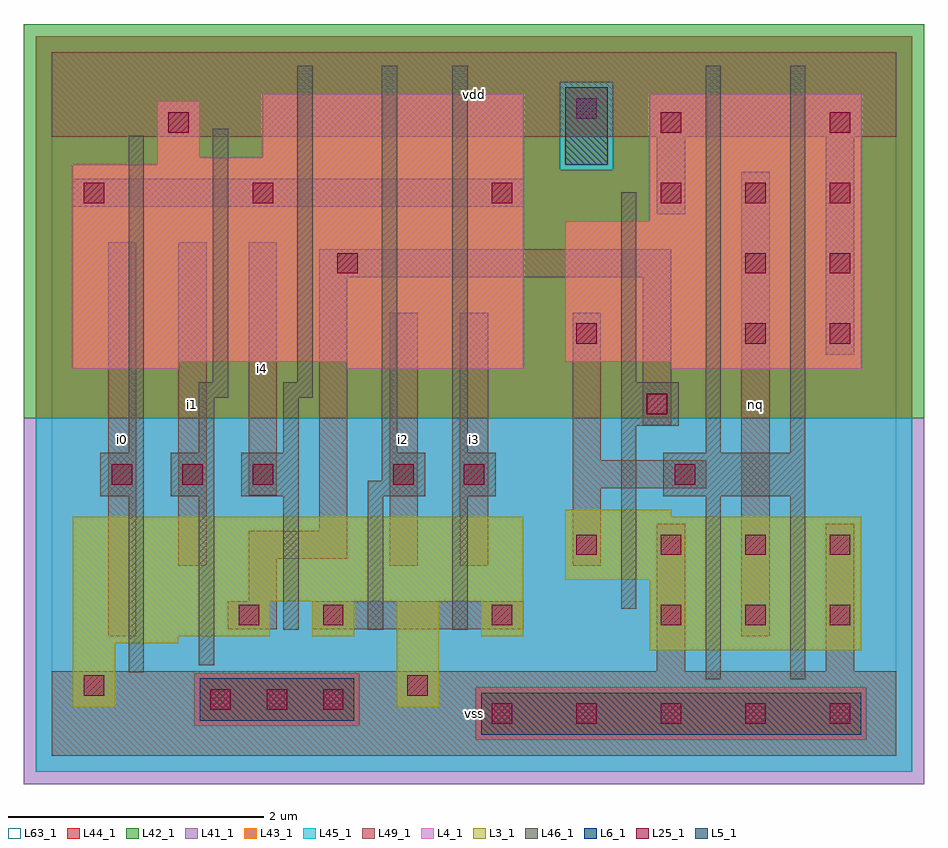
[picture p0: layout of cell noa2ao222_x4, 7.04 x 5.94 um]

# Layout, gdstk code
import gdstk
lib = gdstk.Library(unit=1e-6, precision=1e-09)
def R(c, l, rs):  # rectangles x0, y0, x1, y1
    for r in rs: c.add(gdstk.rectangle(r[:2], r[2:], *l))
def A(c, l, x, y, w, h, nx, ny, dx, dy):  # array of equal rectangles
    R(c, l, [(x+i*dx, y+j*dy, x+i*dx+w, y+j*dy+h) for i in range(nx) for j in range(ny)])
L3_1 = (3, 1)
L4_1 = (4, 1)
L5_1 = (5, 1)
L6_1 = (6, 1)
L25_1 = (25, 1)
L41_1 = (41, 1)
L42_1 = (42, 1)
L43_1 = (43, 1)
L44_1 = (44, 1)
L45_1 = (45, 1)
L46_1 = (46, 1)
L49_1 = (49, 1)
L63_1 = (63, 1)

noa2ao222_x4 = lib.new_cell('noa2ao222_x4')
R(noa2ao222_x4, L3_1, [(0.165,0.385,0.495,0.88), (2.695,0.385,3.025,1.21), (4.675,0.825,6.325,1.375), (0.165,0.88,0.99,0.935), (0.165,0.935,1.705,1.21), (2.035,0.935,2.365,1.21), (3.355,0.935,3.685,1.21), (0.165,1.21,3.685,1.87), (4.015,1.375,6.325,1.87), (4.015,1.87,4.84,1.925)])
R(noa2ao222_x4, L4_1, [(0.165,3.025,0.99,3.08), (2.31,3.025,3.685,3.08), (4.84,3.025,6.325,3.08), (0.165,3.08,3.685,4.62), (4.015,3.08,6.325,4.18), (4.675,4.18,6.325,5.17), (0.825,4.62,3.685,4.675), (0.825,4.675,1.155,5.115), (1.65,4.675,3.685,5.17)])
R(noa2ao222_x4, L5_1, [(4.015,4.62,4.345,5.225)])
R(noa2ao222_x4, L6_1, [(3.355,0.165,6.325,0.495), (1.155,0.275,2.365,0.605)])
A(noa2ao222_x4, L25_1, 3.44, 0.25, 0.16, 0.16, 5, 1, 0.66, 0)
A(noa2ao222_x4, L25_1, 1.24, 0.36, 0.16, 0.16, 3, 1, 0.44, 0)
A(noa2ao222_x4, L25_1, 2.12, 1.02, 0.16, 0.16, 3, 1, 1.32, 0)
A(noa2ao222_x4, L25_1, 4.1, 1.57, 0.16, 0.16, 4, 1, 0.66, 0)
A(noa2ao222_x4, L25_1, 0.47, 2.12, 0.16, 0.16, 3, 1, 0.55, 0)
A(noa2ao222_x4, L25_1, 4.76, 4.32, 0.16, 0.16, 3, 1, 0.66, 0)
R(noa2ao222_x4, L25_1, [(0.25,0.47,0.41,0.63), (2.78,0.47,2.94,0.63), (1.46,1.02,1.62,1.18), (5.42,1.02,5.58,1.18), (6.08,1.02,6.24,1.18), (2.67,2.12,2.83,2.28), (3.22,2.12,3.38,2.28), (4.87,2.12,5.03,2.28), (4.65,2.67,4.81,2.83), (4.1,3.22,4.26,3.38), (5.42,3.22,5.58,3.38), (6.08,3.22,6.24,3.38), (2.23,3.77,2.39,3.93), (5.42,3.77,5.58,3.93), (6.08,3.77,6.24,3.93), (0.25,4.32,0.41,4.48), (1.57,4.32,1.73,4.48), (3.44,4.32,3.6,4.48), (0.91,4.87,1.07,5.03), (4.76,4.87,4.92,5.03), (6.08,4.87,6.24,5.03), (4.1,4.98,4.26,5.14)])
R(noa2ao222_x4, L41_1, [(-0.22,-0.22,6.82,2.64)])
R(noa2ao222_x4, L42_1, [(-0.22,2.64,6.82,5.72)])
R(noa2ao222_x4, L43_1, [(3.355,0.165,6.325,0.495), (1.155,0.275,2.365,0.605), (0.165,0.385,0.495,0.88), (2.695,0.385,3.025,1.21), (4.675,0.825,6.325,1.375), (0.165,0.88,0.99,0.935), (0.165,0.935,1.705,1.21), (2.035,0.935,2.365,1.21), (3.355,0.935,3.685,1.21), (0.165,1.21,3.685,1.87), (4.015,1.375,6.325,1.87), (4.015,1.87,4.84,1.925), (0.165,3.025,0.99,3.08), (2.31,3.025,3.685,3.08), (4.84,3.025,6.325,3.08), (0.165,3.08,3.685,4.62), (4.015,3.08,6.325,4.18), (4.675,4.18,6.325,5.17), (0.825,4.62,3.685,4.675), (4.015,4.62,4.345,5.225), (0.825,4.675,1.155,5.115), (1.65,4.675,3.685,5.17)])
R(noa2ao222_x4, L44_1, [(3.315,0.125,6.365,0.535), (1.115,0.235,2.405,0.645), (-0.125,2.64,6.725,4.58), (-0.125,4.58,3.975,5.265), (4.385,4.58,6.725,5.265), (-0.125,5.265,6.725,5.625)])
R(noa2ao222_x4, L45_1, [(-0.125,-0.125,6.725,0.125), (-0.125,0.125,3.315,0.235), (6.365,0.125,6.725,0.535), (-0.125,0.235,1.115,0.645), (2.405,0.235,3.315,0.535), (2.405,0.535,6.725,0.645), (-0.125,0.645,6.725,2.64), (3.975,4.58,4.385,5.265)])
A(noa2ao222_x4, L46_1, 1.81, 0.985, 0.12, 1.045, 3, 1, 0.66, 0)
R(noa2ao222_x4, L46_1, [(5.11,0.6,5.23,2.03), (5.77,0.6,5.89,2.03), (0.6,0.655,0.72,2.03), (1.15,0.71,1.27,2.03), (4.45,1.15,4.57,2.58), (0.38,2.03,0.72,2.37), (0.93,2.03,1.27,2.37), (1.48,2.03,1.93,2.37), (2.47,2.03,2.92,2.15), (3.13,2.03,3.47,2.37), (4.78,2.03,5.89,2.37), (2.58,2.15,2.92,2.37), (0.6,2.37,0.72,4.845), (1.15,2.37,1.27,2.8), (1.81,2.37,1.93,2.8), (2.58,2.37,2.7,5.395), (3.13,2.37,3.25,5.395), (5.11,2.37,5.23,5.395), (5.77,2.37,5.89,5.395), (4.45,2.58,4.9,2.92), (1.15,2.8,1.38,2.92), (1.81,2.8,2.04,2.92), (1.26,2.92,1.38,4.9), (1.92,2.92,2.04,5.395), (4.45,2.92,4.57,4.405)])
R(noa2ao222_x4, L49_1, [(0,0,6.6,0.66), (4.73,0.66,4.95,1.815), (6.05,0.66,6.27,1.815), (0.44,0.935,0.66,4.015), (5.39,0.935,5.61,4.565), (1.375,0.99,1.76,1.21), (2.035,0.99,3.685,1.21), (1.54,1.21,1.76,1.54), (0.99,1.485,1.21,4.015), (2.64,1.485,2.86,3.465), (3.19,1.485,3.41,3.465), (4.07,1.485,4.29,2.09), (1.54,1.54,2.31,1.76), (2.09,1.76,2.31,3.74), (1.54,2.035,1.76,4.015), (4.07,2.09,5.115,2.31), (4.07,2.31,4.29,3.465), (4.62,2.585,4.84,3.74), (6.05,3.135,6.27,4.84), (2.09,3.74,4.84,3.96), (4.73,4.235,4.95,4.84), (0.165,4.29,3.685,4.51), (0,4.84,6.6,5.5)])
R(noa2ao222_x4, L63_1, [(0,0,6.6,5.5)])
noa2ao222_x4.add(gdstk.Label('i0', (0.55,2.475), layer=49, texttype=1))
noa2ao222_x4.add(gdstk.Label('i1', (1.1,2.75), layer=49, texttype=1))
noa2ao222_x4.add(gdstk.Label('i4', (1.65,3.025), layer=49, texttype=1))
noa2ao222_x4.add(gdstk.Label('vss', (3.3,0.33), layer=49, texttype=1))
noa2ao222_x4.add(gdstk.Label('i2', (2.75,2.475), layer=49, texttype=1))
noa2ao222_x4.add(gdstk.Label('i3', (3.3,2.475), layer=49, texttype=1))
noa2ao222_x4.add(gdstk.Label('vdd', (3.3,5.17), layer=49, texttype=1))
noa2ao222_x4.add(gdstk.Label('nq', (5.5,2.75), layer=49, texttype=1))

lib.write_gds('noa2ao222_x4.gds')
